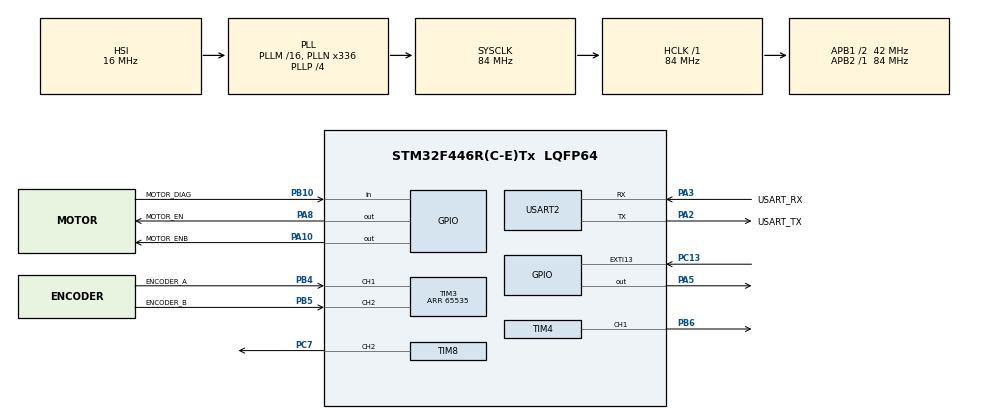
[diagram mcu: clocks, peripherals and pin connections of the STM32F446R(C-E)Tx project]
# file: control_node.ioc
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Mcu.Family=STM32F4
Mcu.Name=STM32F446R(C-E)Tx
Mcu.Package=LQFP64
NUCLEO-F446RE.BUTTON=1
NUCLEO-F446RE.LD1=true
NVIC.EXTI15_10_IRQn=true\:0\:0\:false\:false\:true\:false\:true\:true
NVIC.PriorityGroup=NVIC_PRIORITYGROUP_0
NVIC.USART2_IRQn=true\:0\:0\:false\:false\:true\:true\:true\:true
PA10.GPIO_Label=MOTOR_ENB
PA10.PinState=GPIO_PIN_SET
PA10.Signal=GPIO_Output
PA13.GPIO_Label=TMS
PA13.Signal=SYS_JTMS-SWDIO
PA14.GPIO_Label=TCK
PA14.Signal=SYS_JTCK-SWCLK
PA2.GPIO_Label=USART_TX
PA2.Mode=Asynchronous
PA2.Signal=USART2_TX
PA3.GPIO_Label=USART_RX
PA3.Mode=Asynchronous
PA3.Signal=USART2_RX
PA5.Signal=GPIO_Output
PA8.GPIO_Label=MOTOR_EN
PA8.GPIO_ModeDefaultOutputPP=GPIO_MODE_OUTPUT_PP
PA8.PinState=GPIO_PIN_RESET
PA8.Signal=GPIO_Output
PB10.GPIO_Label=MOTOR_DIAG
PB10.GPIO_PuPd=GPIO_NOPULL
PB10.Signal=GPIO_Input
PB3.GPIO_Label=SWO
PB3.Signal=SYS_JTDO-SWO
PB4.GPIO_Label=ENCODER_A
PB4.Signal=S_TIM3_CH1
PB5.GPIO_Label=ENCODER_B
PB5.Signal=S_TIM3_CH2
PB6.Signal=S_TIM4_CH1
PC13.Signal=GPXTI13
PC14-OSC32_IN.Signal=RCC_OSC32_IN
PC15-OSC32_OUT.Signal=RCC_OSC32_OUT
PC7.Signal=S_TIM8_CH2
PH0-OSC_IN.Signal=RCC_OSC_IN
PH1-OSC_OUT.Signal=RCC_OSC_OUT
ProjectManager.HeapSize=0x200
ProjectManager.StackSize=0x400
ProjectManager.TargetToolchain=STM32CubeIDE
RCC.AHBFreq_Value=84000000
RCC.APB1CLKDivider=RCC_HCLK_DIV2
RCC.APB1Freq_Value=42000000
RCC.APB1TimFreq_Value=84000000
RCC.APB2Freq_Value=84000000
RCC.APB2TimFreq_Value=84000000
RCC.CortexFreq_Value=84000000
RCC.FLatency-AdvancedSettings=FLASH_LATENCY_2
RCC.HCLKFreq_Value=84000000
RCC.HSE_VALUE=8000000
RCC.HSI_VALUE=16000000
RCC.LSE_VALUE=32768
RCC.PLLN=336
RCC.PLLP=RCC_PLLP_DIV4
RCC.SYSCLKFreq_VALUE=84000000
RCC.SYSCLKSource=RCC_SYSCLKSOURCE_PLLCLK
RCC.USBFreq_Value=168000000
RCC.VCOOutputFreq_Value=336000000
SH.S_TIM3_CH1.0=TIM3_CH1,Encoder_Interface
SH.S_TIM3_CH2.0=TIM3_CH2,Encoder_Interface
SH.S_TIM4_CH1.0=TIM4_CH1,PWM Generation1 CH1
SH.S_TIM8_CH2.0=TIM8_CH2,PWM Generation2 CH2
TIM3.EncoderMode=TIM_ENCODERMODE_TI12
TIM3.IC1Filter=4
TIM3.IC2Filter=4
TIM3.Period=65535
TIM4.Channel-PWM\ Generation1\ CH1=TIM_CHANNEL_1
TIM4.Period=4199
TIM8.Channel-PWM\ Generation2\ CH2=TIM_CHANNEL_2
TIM8.Period=4199
USART2.VirtualMode=VM_ASYNC
VP_NUCLEO-F446RE_VS_BSP_COMMON.Mode=COMMON
VP_TIM4_VS_ClockSourceINT.Mode=Internal
VP_TIM8_VS_ClockSourceINT.Mode=Internal
board=NUCLEO-F446RE

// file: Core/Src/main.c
/* USER CODE BEGIN Header */
/**
  ******************************************************************************
  * @file           : main.c
  * @brief          : Main program body
  ******************************************************************************
  * @attention
  *
  * Copyright (c) 2026 STMicroelectronics.
  * All rights reserved.
  *
  * This software is licensed under terms that can be found in the LICENSE file
  * in the root directory of this software component.
  * If no LICENSE file comes with this software, it is provided AS-IS.
  *
  ******************************************************************************
  */
/* USER CODE END Header */
#include "main.h"

/* USER CODE BEGIN Includes */
#include "command_console.h"
#include "encoder_driver.h"
#include "motor_controller.h"
#include "motor_driver.h"
/* USER CODE END Includes */

/* USER CODE BEGIN PD */
#define MOTOR_ENCODER_COUNTS_PER_OUTPUT_REVOLUTION 3591.84f
#define ENCODER_SAMPLE_PERIOD_MS                   10U

/* USER CODE END PD */

TIM_HandleTypeDef htim3;
TIM_HandleTypeDef htim4;
TIM_HandleTypeDef htim8;

UART_HandleTypeDef huart2;

void SystemClock_Config(void);
static void MX_GPIO_Init(void);
static void MX_USART2_UART_Init(void);
static void MX_TIM3_Init(void);
static void MX_TIM4_Init(void);
static void MX_TIM8_Init(void);

int main(void)
{

  /* MCU Configuration--------------------------------------------------------*/

  /* Reset of all peripherals, Initializes the Flash interface and the Systick. */
  HAL_Init();

  /* Configure the system clock */
  SystemClock_Config();

  /* Initialize all configured peripherals */
  MX_GPIO_Init();
  MX_USART2_UART_Init();
  MX_TIM3_Init();
  MX_TIM4_Init();
  MX_TIM8_Init();
  /* USER CODE BEGIN 2 */

  const uint8_t boot_message[] =
      "\r\n"
      "Fault-Tolerant Motor Controller\r\n"
      "Firmware: 0.1.0\r\n"
      "Board: NUCLEO-F446RE\r\n"
      "State: DISABLED\r\n";

  HAL_UART_Transmit(
      &huart2,
      (uint8_t *)boot_message,
      sizeof(boot_message) - 1U,
      HAL_MAX_DELAY
  );

  MotorDriverConfig_t motor_driver_config =
  {
      .pwm1_timer = &htim4,
      .pwm1_channel = TIM_CHANNEL_1,

      .pwm2_timer = &htim8,
      .pwm2_channel = TIM_CHANNEL_2,

      .enable_port = MOTOR_EN_GPIO_Port,
      .enable_pin = MOTOR_EN_Pin,

      .enable_bar_port = MOTOR_ENB_GPIO_Port,
      .enable_bar_pin = MOTOR_ENB_Pin,

      .diag_port = MOTOR_DIAG_GPIO_Port,
      .diag_pin = MOTOR_DIAG_Pin
  };

  if (MotorDriver_Init(&motor_driver_config) != MOTOR_STATUS_OK)
  {
      Error_Handler();
  }

  if (MotorController_Init() != MOTOR_CONTROLLER_STATUS_OK)
  {
      Error_Handler();
  }

  EncoderConfig_t encoder_config =
  {
      .timer = &htim3,
      .counts_per_output_revolution =
          MOTOR_ENCODER_COUNTS_PER_OUTPUT_REVOLUTION,
      .sample_period_ms = ENCODER_SAMPLE_PERIOD_MS,
      .invert_direction = false
  };

  if (Encoder_Init(
          &encoder_config,
          HAL_GetTick()) != ENCODER_STATUS_OK)
  {
      Error_Handler();
  }

  if (!CommandConsole_Init(&huart2))
  {
      Error_Handler();
  }

  uint32_t last_led_toggle_ms = HAL_GetTick();

  /* USER CODE END 2 */

  /* Initialize leds */
  BSP_LED_Init(LED2);

  /* Initialize USER push-button, will be used to trigger an interrupt each time it's pressed.*/
  BSP_PB_Init(BUTTON_USER, BUTTON_MODE_EXTI);

  /* Infinite loop */
  /* USER CODE BEGIN WHILE */
  while (1)
  {
    if (Encoder_Process(HAL_GetTick()) != ENCODER_STATUS_OK)
    {
      Error_Handler();
    }

    MotorController_Process();
    CommandConsole_Process();

    if ((HAL_GetTick() - last_led_toggle_ms) >= 500U)
    {
      last_led_toggle_ms = HAL_GetTick();
      HAL_GPIO_TogglePin(GPIOA, GPIO_PIN_5);
    }

    /* USER CODE END WHILE */

  }
}

void SystemClock_Config(void)
{
  RCC_OscInitTypeDef RCC_OscInitStruct = {0};
  RCC_ClkInitTypeDef RCC_ClkInitStruct = {0};

  /** Configure the main internal regulator output voltage
  */
  __HAL_RCC_PWR_CLK_ENABLE();
  __HAL_PWR_VOLTAGESCALING_CONFIG(PWR_REGULATOR_VOLTAGE_SCALE3);

  /** Initializes the RCC Oscillators according to the specified parameters
  * in the RCC_OscInitTypeDef structure.
  */
  RCC_OscInitStruct.OscillatorType = RCC_OSCILLATORTYPE_HSI;
  RCC_OscInitStruct.HSIState = RCC_HSI_ON;
  RCC_OscInitStruct.HSICalibrationValue = RCC_HSICALIBRATION_DEFAULT;
  RCC_OscInitStruct.PLL.PLLState = RCC_PLL_ON;
  RCC_OscInitStruct.PLL.PLLSource = RCC_PLLSOURCE_HSI;
  RCC_OscInitStruct.PLL.PLLM = 16;
  RCC_OscInitStruct.PLL.PLLN = 336;
  RCC_OscInitStruct.PLL.PLLP = RCC_PLLP_DIV4;
  RCC_OscInitStruct.PLL.PLLQ = 2;
  RCC_OscInitStruct.PLL.PLLR = 2;
  if (HAL_RCC_OscConfig(&RCC_OscInitStruct) != HAL_OK)
  {
    Error_Handler();
  }

  /** Initializes the CPU, AHB and APB buses clocks
  */
  RCC_ClkInitStruct.ClockType = RCC_CLOCKTYPE_HCLK|RCC_CLOCKTYPE_SYSCLK
                              |RCC_CLOCKTYPE_PCLK1|RCC_CLOCKTYPE_PCLK2;
  RCC_ClkInitStruct.SYSCLKSource = RCC_SYSCLKSOURCE_PLLCLK;
  RCC_ClkInitStruct.AHBCLKDivider = RCC_SYSCLK_DIV1;
  RCC_ClkInitStruct.APB1CLKDivider = RCC_HCLK_DIV2;
  RCC_ClkInitStruct.APB2CLKDivider = RCC_HCLK_DIV1;

  if (HAL_RCC_ClockConfig(&RCC_ClkInitStruct, FLASH_LATENCY_2) != HAL_OK)
  {
    Error_Handler();
  }
}

static void MX_TIM3_Init(void)
{

  TIM_Encoder_InitTypeDef sConfig = {0};
  TIM_MasterConfigTypeDef sMasterConfig = {0};

  htim3.Instance = TIM3;
  htim3.Init.Prescaler = 0;
  htim3.Init.CounterMode = TIM_COUNTERMODE_UP;
  htim3.Init.Period = 65535;
  htim3.Init.ClockDivision = TIM_CLOCKDIVISION_DIV1;
  htim3.Init.AutoReloadPreload = TIM_AUTORELOAD_PRELOAD_DISABLE;
  sConfig.EncoderMode = TIM_ENCODERMODE_TI12;
  sConfig.IC1Polarity = TIM_ICPOLARITY_RISING;
  sConfig.IC1Selection = TIM_ICSELECTION_DIRECTTI;
  sConfig.IC1Prescaler = TIM_ICPSC_DIV1;
  sConfig.IC1Filter = 4;
  sConfig.IC2Polarity = TIM_ICPOLARITY_RISING;
  sConfig.IC2Selection = TIM_ICSELECTION_DIRECTTI;
  sConfig.IC2Prescaler = TIM_ICPSC_DIV1;
  sConfig.IC2Filter = 4;
  if (HAL_TIM_Encoder_Init(&htim3, &sConfig) != HAL_OK)
  {
    Error_Handler();
  }
  sMasterConfig.MasterOutputTrigger = TIM_TRGO_RESET;
  sMasterConfig.MasterSlaveMode = TIM_MASTERSLAVEMODE_DISABLE;
  if (HAL_TIMEx_MasterConfigSynchronization(&htim3, &sMasterConfig) != HAL_OK)
  {
    Error_Handler();
  }

}

static void MX_TIM4_Init(void)
{

  TIM_ClockConfigTypeDef sClockSourceConfig = {0};
  TIM_MasterConfigTypeDef sMasterConfig = {0};
  TIM_OC_InitTypeDef sConfigOC = {0};

  htim4.Instance = TIM4;
  htim4.Init.Prescaler = 0;
  htim4.Init.CounterMode = TIM_COUNTERMODE_UP;
  htim4.Init.Period = 4199;
  htim4.Init.ClockDivision = TIM_CLOCKDIVISION_DIV1;
  htim4.Init.AutoReloadPreload = TIM_AUTORELOAD_PRELOAD_DISABLE;
  if (HAL_TIM_Base_Init(&htim4) != HAL_OK)
  {
    Error_Handler();
  }
  sClockSourceConfig.ClockSource = TIM_CLOCKSOURCE_INTERNAL;
  if (HAL_TIM_ConfigClockSource(&htim4, &sClockSourceConfig) != HAL_OK)
  {
    Error_Handler();
  }
  if (HAL_TIM_PWM_Init(&htim4) != HAL_OK)
  {
    Error_Handler();
  }
  sMasterConfig.MasterOutputTrigger = TIM_TRGO_RESET;
  sMasterConfig.MasterSlaveMode = TIM_MASTERSLAVEMODE_DISABLE;
  if (HAL_TIMEx_MasterConfigSynchronization(&htim4, &sMasterConfig) != HAL_OK)
  {
    Error_Handler();
  }
  sConfigOC.OCMode = TIM_OCMODE_PWM1;
  sConfigOC.Pulse = 0;
  sConfigOC.OCPolarity = TIM_OCPOLARITY_HIGH;
  sConfigOC.OCFastMode = TIM_OCFAST_DISABLE;
  if (HAL_TIM_PWM_ConfigChannel(&htim4, &sConfigOC, TIM_CHANNEL_1) != HAL_OK)
  {
    Error_Handler();
  }
  HAL_TIM_MspPostInit(&htim4);

}

static void MX_TIM8_Init(void)
{

  TIM_ClockConfigTypeDef sClockSourceConfig = {0};
  TIM_MasterConfigTypeDef sMasterConfig = {0};
  TIM_OC_InitTypeDef sConfigOC = {0};
  TIM_BreakDeadTimeConfigTypeDef sBreakDeadTimeConfig = {0};

  htim8.Instance = TIM8;
  htim8.Init.Prescaler = 0;
  htim8.Init.CounterMode = TIM_COUNTERMODE_UP;
  htim8.Init.Period = 4199;
  htim8.Init.ClockDivision = TIM_CLOCKDIVISION_DIV1;
  htim8.Init.RepetitionCounter = 0;
  htim8.Init.AutoReloadPreload = TIM_AUTORELOAD_PRELOAD_DISABLE;
  if (HAL_TIM_Base_Init(&htim8) != HAL_OK)
  {
    Error_Handler();
  }
  sClockSourceConfig.ClockSource = TIM_CLOCKSOURCE_INTERNAL;
  if (HAL_TIM_ConfigClockSource(&htim8, &sClockSourceConfig) != HAL_OK)
  {
    Error_Handler();
  }
  if (HAL_TIM_PWM_Init(&htim8) != HAL_OK)
  {
    Error_Handler();
  }
  sMasterConfig.MasterOutputTrigger = TIM_TRGO_RESET;
  sMasterConfig.MasterSlaveMode = TIM_MASTERSLAVEMODE_DISABLE;
  if (HAL_TIMEx_MasterConfigSynchronization(&htim8, &sMasterConfig) != HAL_OK)
  {
    Error_Handler();
  }
  sConfigOC.OCMode = TIM_OCMODE_PWM1;
  sConfigOC.Pulse = 0;
  sConfigOC.OCPolarity = TIM_OCPOLARITY_HIGH;
  sConfigOC.OCNPolarity = TIM_OCNPOLARITY_HIGH;
  sConfigOC.OCFastMode = TIM_OCFAST_DISABLE;
  sConfigOC.OCIdleState = TIM_OCIDLESTATE_RESET;
  sConfigOC.OCNIdleState = TIM_OCNIDLESTATE_RESET;
  if (HAL_TIM_PWM_ConfigChannel(&htim8, &sConfigOC, TIM_CHANNEL_2) != HAL_OK)
  {
    Error_Handler();
  }
  sBreakDeadTimeConfig.OffStateRunMode = TIM_OSSR_DISABLE;
  sBreakDeadTimeConfig.OffStateIDLEMode = TIM_OSSI_DISABLE;
  sBreakDeadTimeConfig.LockLevel = TIM_LOCKLEVEL_OFF;
  sBreakDeadTimeConfig.DeadTime = 0;
  sBreakDeadTimeConfig.BreakState = TIM_BREAK_DISABLE;
  sBreakDeadTimeConfig.BreakPolarity = TIM_BREAKPOLARITY_HIGH;
  sBreakDeadTimeConfig.AutomaticOutput = TIM_AUTOMATICOUTPUT_DISABLE;
  if (HAL_TIMEx_ConfigBreakDeadTime(&htim8, &sBreakDeadTimeConfig) != HAL_OK)
  {
    Error_Handler();
  }
  HAL_TIM_MspPostInit(&htim8);

}

static void MX_USART2_UART_Init(void)
{

  huart2.Instance = USART2;
  huart2.Init.BaudRate = 115200;
  huart2.Init.WordLength = UART_WORDLENGTH_8B;
  huart2.Init.StopBits = UART_STOPBITS_1;
  huart2.Init.Parity = UART_PARITY_NONE;
  huart2.Init.Mode = UART_MODE_TX_RX;
  huart2.Init.HwFlowCtl = UART_HWCONTROL_NONE;
  huart2.Init.OverSampling = UART_OVERSAMPLING_16;
  if (HAL_UART_Init(&huart2) != HAL_OK)
  {
    Error_Handler();
  }

}

static void MX_GPIO_Init(void)
{
  GPIO_InitTypeDef GPIO_InitStruct = {0};

  /* GPIO Ports Clock Enable */
  __HAL_RCC_GPIOC_CLK_ENABLE();
  __HAL_RCC_GPIOH_CLK_ENABLE();
  __HAL_RCC_GPIOA_CLK_ENABLE();
  __HAL_RCC_GPIOB_CLK_ENABLE();

  /*Configure GPIO pin Output Level */
  HAL_GPIO_WritePin(MOTOR_EN_GPIO_Port, MOTOR_EN_Pin, GPIO_PIN_RESET);

  /*Configure GPIO pin Output Level */
  HAL_GPIO_WritePin(MOTOR_ENB_GPIO_Port, MOTOR_ENB_Pin, GPIO_PIN_SET);

  /*Configure GPIO pin : MOTOR_DIAG_Pin */
  GPIO_InitStruct.Pin = MOTOR_DIAG_Pin;
  GPIO_InitStruct.Mode = GPIO_MODE_INPUT;
  GPIO_InitStruct.Pull = GPIO_NOPULL;
  HAL_GPIO_Init(MOTOR_DIAG_GPIO_Port, &GPIO_InitStruct);

  /*Configure GPIO pins : MOTOR_EN_Pin MOTOR_ENB_Pin */
  GPIO_InitStruct.Pin = MOTOR_EN_Pin|MOTOR_ENB_Pin;
  GPIO_InitStruct.Mode = GPIO_MODE_OUTPUT_PP;
  GPIO_InitStruct.Pull = GPIO_NOPULL;
  GPIO_InitStruct.Speed = GPIO_SPEED_FREQ_LOW;
  HAL_GPIO_Init(GPIOA, &GPIO_InitStruct);

}

/* USER CODE BEGIN 4 */

void HAL_UART_RxCpltCallback(
    UART_HandleTypeDef *huart)
{
    CommandConsole_OnRxComplete(huart);
}

/* USER CODE END 4 */

void Error_Handler(void)
{
  __disable_irq();
  while (1)
  {
  }
}
